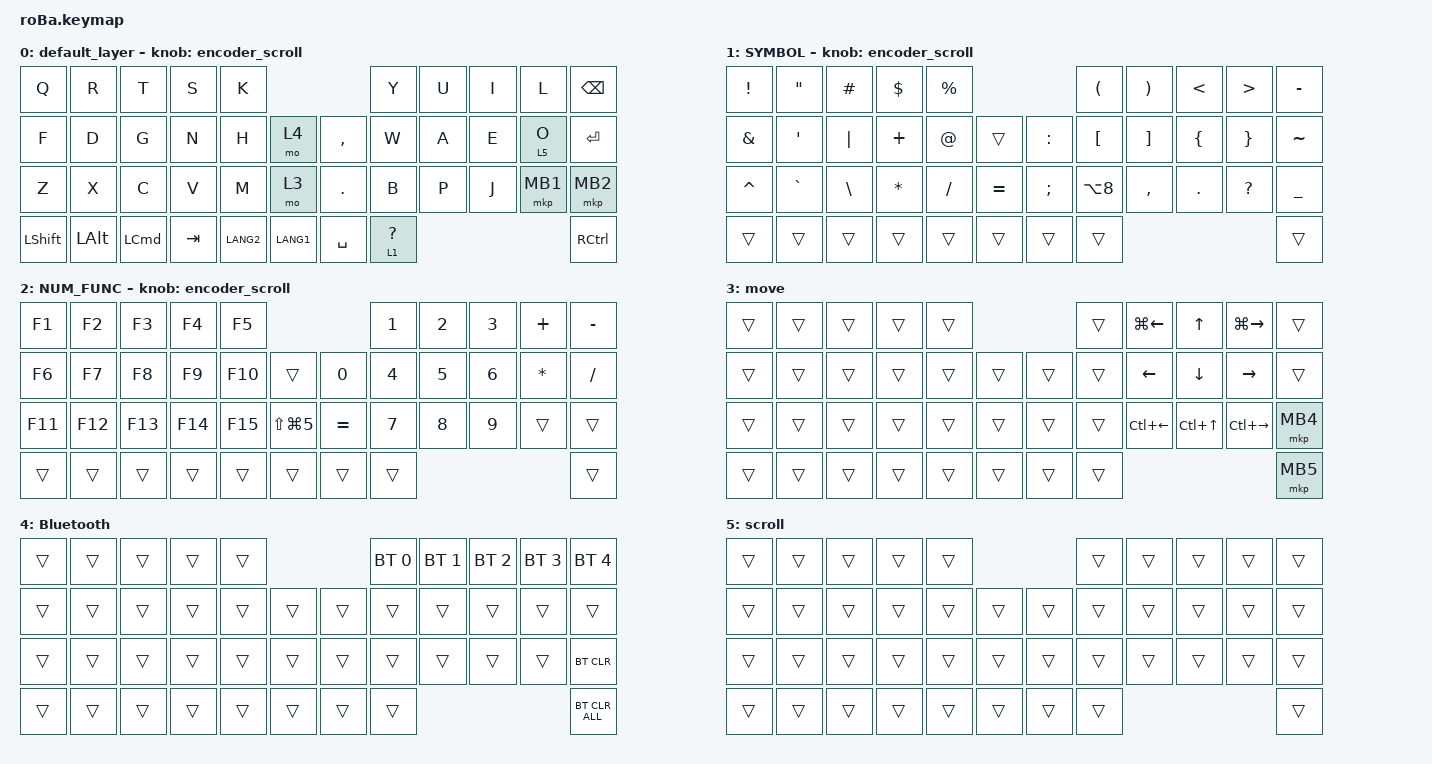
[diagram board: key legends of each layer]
#define ZMK_POINTING_DEFAULT_SCRL_VAL 100

#include <behaviors.dtsi>
#include <dt-bindings/zmk/bt.h>
#include <dt-bindings/zmk/keys.h>
#include <dt-bindings/zmk/pointing.h>

&mt {
    flavor = "balanced";
    quick-tap-ms = <0>;
};

&trackball {
    automouse-layer = <4>;
    scroll-layers = <5>;

    // arrows {
    //     layers = <3>;
    //     bindings =
    //         <&kp RIGHT_ARROW>,
    //         <&kp LEFT_ARROW>,
    //         <&kp UP_ARROW>,
    //         <&kp DOWN_ARROW>;
    //     tick = <10>;
    //     wait-ms = <5>;
    //     tap-ms = <5>;
    // };
};

/ {
    combos {
        compatible = "zmk,combos";

        tab {
            bindings = <&kp TAB>;
            key-positions = <11 12>;
        };

        shift_tab {
            bindings = <&kp LS(TAB)>;
            key-positions = <12 13>;
        };

        muhennkann {
            bindings = <&to_layer_0 INT_MUHENKAN>;
            key-positions = <11 10>;
        };

        double_quotation {
            bindings = <&kp DOUBLE_QUOTES>;
            key-positions = <20 21>;
        };

        eq {
            bindings = <&kp EQUAL>;
            key-positions = <24 25>;
        };
    };

    macros {
        to_layer_0: to_layer_0 {
            compatible = "zmk,behavior-macro-one-param";
            #binding-cells = <1>;
            bindings = <&to 0 &macro_param_1to1 &kp MACRO_PLACEHOLDER>;
            label = "TO_LAYER_0";
        };
    };

    behaviors {
        lt_to_layer_0: lt_to_layer_0 {
            compatible = "zmk,behavior-hold-tap";
            label = "LAYER_TAP_TO_0";
            bindings = <&mo>, <&to_layer_0>;

            #binding-cells = <2>;
            tapping-term-ms = <200>;
        };

        // 長押しでスクロールレイヤー、タップでマウスクリック

        scroll_click: scroll_click {
            compatible = "zmk,behavior-hold-tap";
            label = "SCROLL_CLICK";
            bindings = <&mo>, <&mkp>;

            #binding-cells = <2>;
            tapping-term-ms = <200>;
            flavor = "balanced";
        };

        // 長押しでスクロールレイヤー、タップでキー送信

        scroll_key: scroll_key {
            compatible = "zmk,behavior-hold-tap";
            label = "SCROLL_KEY";
            bindings = <&mo>, <&kp>;

            #binding-cells = <2>;
            tapping-term-ms = <200>;
            flavor = "balanced";
        };

        // エンコーダー用マウススクロール

        encoder_scroll: encoder_scroll {
            compatible = "zmk,behavior-sensor-rotate";
            #sensor-binding-cells = <0>;
            bindings = <&msc SCRL_UP>, <&msc SCRL_DOWN>;
        };
    };

    keymap {
        compatible = "zmk,keymap";

        default_layer {
            bindings = <
&kp Q           &kp R         &kp T             &kp S    &kp K                                 &kp Y           &kp U  &kp I  &kp L            &kp BACKSPACE
&kp F           &kp D         &kp G             &kp N    &kp H      &mo 4          &kp COMMA   &kp W           &kp A  &kp E  &scroll_key 5 O  &kp ENTER
&kp Z           &kp X         &kp C             &kp V    &kp M      &mo 3          &kp PERIOD  &kp B           &kp P  &kp J  &mkp MB1         &mkp MB2
&kp LEFT_SHIFT  &kp LEFT_ALT  &kp LEFT_COMMAND  &kp TAB  &kp LANG2  &kp LANG1      &kp SPACE   &lt 1 QUESTION                                 &kp RIGHT_CONTROL
            >;

            sensor-bindings = <&encoder_scroll>;
        };

        SYMBOL {
            bindings = <
&kp EXCLAMATION  &kp DOUBLE_QUOTES  &kp HASH       &kp DOLLAR    &kp PERCENT                                &kp LEFT_PARENTHESIS  &kp RIGHT_PARENTHESIS  &kp LESS_THAN   &kp GREATER_THAN  &kp MINUS
&kp AMPERSAND    &kp SINGLE_QUOTE   &kp PIPE       &kp PLUS      &kp AT       &trans         &kp COLON      &kp LEFT_BRACKET      &kp RIGHT_BRACKET      &kp LEFT_BRACE  &kp RIGHT_BRACE   &kp TILDE
&kp CARET        &kp GRAVE          &kp BACKSLASH  &kp ASTERISK  &kp SLASH    &kp EQUAL      &kp SEMICOLON  &kp LA(NUMBER_8)      &kp COMMA              &kp PERIOD      &kp QUESTION      &kp UNDERSCORE
&trans           &trans             &trans         &trans        &trans       &trans         &trans         &trans                                                                         &trans
            >;

            sensor-bindings = <&encoder_scroll>;
        };

        NUM_FUNC {
            bindings = <
&kp F1   &kp F2   &kp F3   &kp F4   &kp F5                                           &kp NUMBER_1  &kp NUMBER_2  &kp NUMBER_3  &kp PLUS      &kp MINUS
&kp F6   &kp F7   &kp F8   &kp F9   &kp F10  &trans                    &kp NUMBER_0  &kp NUMBER_4  &kp NUMBER_5  &kp NUMBER_6  &kp ASTERISK  &kp SLASH
&kp F11  &kp F12  &kp F13  &kp F14  &kp F15  &kp LS(LG(NUMBER_5))      &kp EQUAL     &kp NUMBER_7  &kp NUMBER_8  &kp NUMBER_9  &trans        &trans
&trans   &trans   &trans   &trans   &trans   &trans                    &trans        &trans                                                  &trans
            >;

            sensor-bindings = <&encoder_scroll>;
        };

        move {
            bindings = <
&trans  &trans  &trans  &trans  &trans                      &trans  &kp LG(LEFT_ARROW)  &kp UP_ARROW      &kp LG(RIGHT_ARROW)  &trans
&trans  &trans  &trans  &trans  &trans  &trans      &trans  &trans  &kp LEFT_ARROW      &kp DOWN_ARROW    &kp RIGHT_ARROW      &trans
&trans  &trans  &trans  &trans  &trans  &trans      &trans  &trans  &kp LC(LEFT_ARROW)  &kp LC(UP_ARROW)  &kp LC(RIGHT_ARROW)  &mkp MB4
&trans  &trans  &trans  &trans  &trans  &trans      &trans  &trans                                                             &mkp MB5
            >;
        };

        Bluetooth {
            bindings = <
&trans  &trans  &trans  &trans  &trans                      &bt BT_SEL 0  &bt BT_SEL 1  &bt BT_SEL 2  &bt BT_SEL 3  &bt BT_SEL 4
&trans  &trans  &trans  &trans  &trans  &trans      &trans  &trans        &trans        &trans        &trans        &trans
&trans  &trans  &trans  &trans  &trans  &trans      &trans  &trans        &trans        &trans        &trans        &bt BT_CLR
&trans  &trans  &trans  &trans  &trans  &trans      &trans  &trans                                                  &bt BT_CLR_ALL
            >;
        };

        scroll {
            bindings = <
&trans  &trans  &trans  &trans  &trans                      &trans  &trans  &trans  &trans  &trans
&trans  &trans  &trans  &trans  &trans  &trans      &trans  &trans  &trans  &trans  &trans  &trans
&trans  &trans  &trans  &trans  &trans  &trans      &trans  &trans  &trans  &trans  &trans  &trans
&trans  &trans  &trans  &trans  &trans  &trans      &trans  &trans                          &trans
            >;
        };
    };
};
